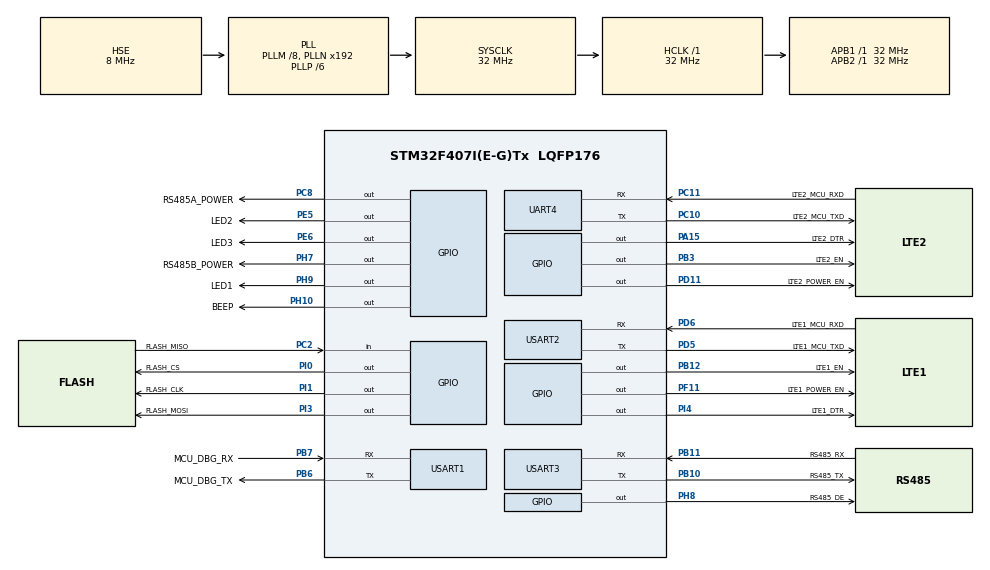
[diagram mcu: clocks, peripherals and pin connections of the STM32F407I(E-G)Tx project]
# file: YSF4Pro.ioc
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Mcu.Family=STM32F4
Mcu.Name=STM32F407I(E-G)Tx
Mcu.Package=LQFP176
NVIC.PriorityGroup=NVIC_PRIORITYGROUP_4
NVIC.UART4_IRQn=true\:0\:0\:false\:false\:true\:true\:true
NVIC.USART1_IRQn=true\:0\:0\:false\:false\:true\:true\:true
NVIC.USART2_IRQn=true\:0\:0\:false\:false\:true\:true\:true
NVIC.USART3_IRQn=true\:0\:0\:false\:false\:true\:true\:true
PA13.Mode=Serial_Wire
PA13.Signal=SYS_JTMS-SWDIO
PA14.Mode=Serial_Wire
PA14.Signal=SYS_JTCK-SWCLK
PA15.GPIO_Label=LTE2_DTR
PA15.PinState=GPIO_PIN_SET
PA15.Signal=GPIO_Output
PB10.GPIO_Label=RS485_TX
PB10.Mode=Asynchronous
PB10.Signal=USART3_TX
PB11.GPIO_Label=RS485_RX
PB11.Mode=Asynchronous
PB11.Signal=USART3_RX
PB12.GPIO_Label=LTE1_EN
PB12.Signal=GPIO_Output
PB3.GPIO_Label=LTE2_EN
PB3.Signal=GPIO_Output
PB6.GPIO_Label=MCU_DBG_TX
PB6.Mode=Asynchronous
PB6.Signal=USART1_TX
PB7.GPIO_Label=MCU_DBG_RX
PB7.Mode=Asynchronous
PB7.Signal=USART1_RX
PC10.GPIO_Label=LTE2_MCU_TXD
PC10.Mode=Asynchronous
PC10.Signal=UART4_TX
PC11.GPIO_Label=LTE2_MCU_RXD
PC11.Mode=Asynchronous
PC11.Signal=UART4_RX
PC14-OSC32_IN.Mode=LSE-External-Oscillator
PC14-OSC32_IN.Signal=RCC_OSC32_IN
PC15-OSC32_OUT.Mode=LSE-External-Oscillator
PC15-OSC32_OUT.Signal=RCC_OSC32_OUT
PC2.GPIO_Label=FLASH_MISO
PC2.Signal=GPIO_Input
PC8.GPIO_Label=RS485A_POWER
PC8.Signal=GPIO_Output
PD11.GPIO_Label=LTE2_POWER_EN
PD11.PinState=GPIO_PIN_SET
PD11.Signal=GPIO_Output
PD5.GPIO_Label=LTE1_MCU_TXD
PD5.Mode=Asynchronous
PD5.Signal=USART2_TX
PD6.GPIO_Label=LTE1_MCU_RXD
PD6.Mode=Asynchronous
PD6.Signal=USART2_RX
PE5.GPIO_Label=LED2
PE5.PinState=GPIO_PIN_RESET
PE5.Signal=GPIO_Output
PE6.GPIO_Label=LED3
PE6.PinState=GPIO_PIN_RESET
PE6.Signal=GPIO_Output
PF11.GPIO_Label=LTE1_POWER_EN
PF11.PinState=GPIO_PIN_SET
PF11.Signal=GPIO_Output
PH0-OSC_IN.Mode=HSE-External-Oscillator
PH0-OSC_IN.Signal=RCC_OSC_IN
PH1-OSC_OUT.Mode=HSE-External-Oscillator
PH1-OSC_OUT.Signal=RCC_OSC_OUT
PH10.GPIO_Label=BEEP
PH10.Signal=GPIO_Output
PH7.GPIO_Label=RS485B_POWER
PH7.Signal=GPIO_Output
PH8.GPIO_Label=RS485_DE
PH8.Signal=GPIO_Output
PH9.GPIO_Label=LED1
PH9.PinState=GPIO_PIN_RESET
PH9.Signal=GPIO_Output
PI0.GPIO_Label=FLASH_CS
PI0.Signal=GPIO_Output
PI1.GPIO_Label=FLASH_CLK
PI1.Signal=GPIO_Output
PI3.GPIO_Label=FLASH_MOSI
PI3.Signal=GPIO_Output
PI4.GPIO_Label=LTE1_DTR
PI4.PinState=GPIO_PIN_SET
PI4.Signal=GPIO_Output
ProjectManager.HeapSize=0x200
ProjectManager.StackSize=0x400
ProjectManager.TargetToolchain=EWARM V8.32
RCC.48MHZClocksFreq_Value=48000000
RCC.AHBFreq_Value=32000000
RCC.APB1Freq_Value=32000000
RCC.APB1TimFreq_Value=32000000
RCC.APB2Freq_Value=32000000
RCC.APB2TimFreq_Value=32000000
RCC.CortexFreq_Value=32000000
RCC.HCLKFreq_Value=32000000
RCC.HSE_VALUE=8000000
RCC.HSI_VALUE=16000000
RCC.PLLM=8
RCC.PLLP=RCC_PLLP_DIV6
RCC.PLLSourceVirtual=RCC_PLLSOURCE_HSE
RCC.SYSCLKFreq_VALUE=32000000
RCC.SYSCLKSource=RCC_SYSCLKSOURCE_PLLCLK
RCC.VCOOutputFreq_Value=192000000
UART4.VirtualMode=Asynchronous
USART1.VirtualMode=VM_ASYNC
USART2.VirtualMode=VM_ASYNC
USART3.VirtualMode=VM_ASYNC
VP_IWDG_VS_IWDG.Mode=IWDG_Activate
board=custom

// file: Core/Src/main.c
/* USER CODE BEGIN Header */
/**
  ******************************************************************************
  * @file           : main.c
  * @brief          : Main program body
  ******************************************************************************
  * @attention
  *
  * <h2><center>&copy; Copyright (c) 2024 STMicroelectronics.
  * All rights reserved.</center></h2>
  *
  * This software component is licensed by ST under BSD 3-Clause license,
  * the "License"; You may not use this file except in compliance with the
  * License. You may obtain a copy of the License at:
  *                        opensource.org/licenses/BSD-3-Clause
  *
  ******************************************************************************
  */
/* USER CODE END Header */
#include "main.h"
#include "iwdg.h"
#include "usart.h"
#include "gpio.h"

/* USER CODE BEGIN Includes */
#include <stdio.h>
#include "uart_dev.h"
#include "common.h"
#include "w25q256.h"
#include "DeviceLte.h"
#include "DeviceSystime.h"
#include "DeviceCfg.h"
#include "DeviceIce.h"
#include "DeepSensing.h"
#include "NanWangGX.h"
/* USER CODE END Includes */

void SystemClock_Config(void);

/* USER CODE BEGIN 0 */
static void Show_Version(void)
{
    char output_file[50] = "";
    sprintf(output_file, "DS_%s_APP_Sv%s.%s.%s_%s_%s.bin", DS_PRODUCT_MODULE, DS_SOFT_MAINVERSION,
            DS_SOFT_SUBVERSION, DS_SOFT_EDITEVERSION, DS_SOFT_REBUILD_TIME, DS_SOFT_REBUILD_FLAG);
    log_printf("\n");
    log_printf("***************************************************");
    log_printf("*                   YS-F4Pro-APP                  *");
    log_printf("***************************************************");
    log_printf("\n 2023 - 2048 Copyright lqc");
    log_printf(" DXFF Software Version : V %s.%s.%s",DS_SOFT_MAINVERSION, DS_SOFT_SUBVERSION, DS_SOFT_EDITEVERSION);
    log_printf(" DXFF Hardware Version : V %s.%s.%s",DS_HARDWARE_MAINVERSION, DS_HARDWARE_SUBVERSION, DS_HARDWARE_EDITEVERSION);
    log_printf(" Project build : %s", __DATE__);
    log_printf(" Output File: %s\n", output_file);
    log_printf("***************************************************\n");
}
FINSH_FUNCTION_EXPORT(Show_Version, show version information);
MSH_CMD_EXPORT(Show_Version, show version information);
/* USER CODE END 0 */

int main(void)
{
  /* USER CODE BEGIN 1 */
#if 0
  /* USER CODE END 1 */

  /* MCU Configuration--------------------------------------------------------*/

  /* Reset of all peripherals, Initializes the Flash interface and the Systick. */
  HAL_Init();

  /* Configure the system clock */
  SystemClock_Config();

  /* Initialize all configured peripherals */
  MX_GPIO_Init();
  MX_USART1_UART_Init();
  MX_UART4_Init();
  MX_USART2_UART_Init();
  MX_USART3_UART_Init();
  MX_IWDG_Init();
  /* USER CODE BEGIN 2 */
#endif
  /* USER CODE END 2 */

  /* Infinite loop */
  /* USER CODE BEGIN WHILE */
  MX_GPIO_Init();
  MX_IWDG_Init();
  Flash_GPIO_Init();
  init_console_uart();
  init_RS485_uart();
  Show_Version();
  InitDeviceCfgModule();
  InitCommonFuntionModule();
  InitBroadcastServiceModule();
  mdelay(1000);
  InitDeviceSystimeModule();
  InitDeviceIceModule();
  InitDeviceLteModule();
  InitBussinessDSModule();
  //InitNanWangGxModule();
  while (1)
  {
    mdelay(1000);
    HAL_IWDG_Refresh(&hiwdg);
    /* USER CODE END WHILE */

  }
}

void SystemClock_Config(void)
{
  RCC_OscInitTypeDef RCC_OscInitStruct = {0};
  RCC_ClkInitTypeDef RCC_ClkInitStruct = {0};

  /** Configure the main internal regulator output voltage
  */
  __HAL_RCC_PWR_CLK_ENABLE();
  __HAL_PWR_VOLTAGESCALING_CONFIG(PWR_REGULATOR_VOLTAGE_SCALE1);
  /** Initializes the RCC Oscillators according to the specified parameters
  * in the RCC_OscInitTypeDef structure.
  */
  RCC_OscInitStruct.OscillatorType = RCC_OSCILLATORTYPE_LSI|RCC_OSCILLATORTYPE_HSE;
  RCC_OscInitStruct.HSEState = RCC_HSE_ON;
  RCC_OscInitStruct.LSIState = RCC_LSI_ON;
  RCC_OscInitStruct.PLL.PLLState = RCC_PLL_ON;
  RCC_OscInitStruct.PLL.PLLSource = RCC_PLLSOURCE_HSE;
  RCC_OscInitStruct.PLL.PLLM = 8;
  RCC_OscInitStruct.PLL.PLLN = 192;
  RCC_OscInitStruct.PLL.PLLP = RCC_PLLP_DIV6;
  RCC_OscInitStruct.PLL.PLLQ = 4;
  if (HAL_RCC_OscConfig(&RCC_OscInitStruct) != HAL_OK)
  {
    Error_Handler();
  }
  /** Initializes the CPU, AHB and APB buses clocks
  */
  RCC_ClkInitStruct.ClockType = RCC_CLOCKTYPE_HCLK|RCC_CLOCKTYPE_SYSCLK
                              |RCC_CLOCKTYPE_PCLK1|RCC_CLOCKTYPE_PCLK2;
  RCC_ClkInitStruct.SYSCLKSource = RCC_SYSCLKSOURCE_PLLCLK;
  RCC_ClkInitStruct.AHBCLKDivider = RCC_SYSCLK_DIV1;
  RCC_ClkInitStruct.APB1CLKDivider = RCC_HCLK_DIV1;
  RCC_ClkInitStruct.APB2CLKDivider = RCC_HCLK_DIV1;

  if (HAL_RCC_ClockConfig(&RCC_ClkInitStruct, FLASH_LATENCY_1) != HAL_OK)
  {
    Error_Handler();
  }
}

void Error_Handler(void)
{
  __disable_irq();
  while (1)
  {
  }
}

/************************ (C) COPYRIGHT STMicroelectronics *****END OF FILE****/
